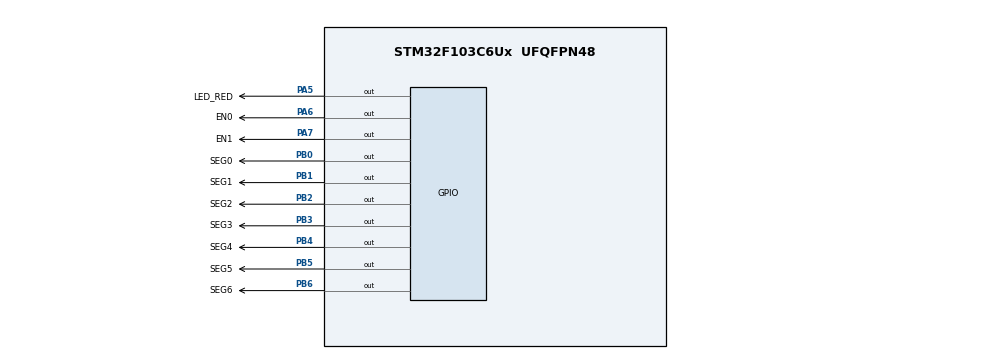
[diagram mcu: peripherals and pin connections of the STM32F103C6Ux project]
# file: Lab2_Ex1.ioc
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Mcu.Family=STM32F1
Mcu.Name=STM32F103C6Ux
Mcu.Package=UFQFPN48
NVIC.PriorityGroup=NVIC_PRIORITYGROUP_4
NVIC.TIM2_IRQn=true\:0\:0\:false\:false\:true\:true\:true
PA5.GPIO_Label=LED_RED
PA5.Signal=GPIO_Output
PA6.GPIO_Label=EN0
PA6.Signal=GPIO_Output
PA7.GPIO_Label=EN1
PA7.Signal=GPIO_Output
PB0.GPIO_Label=SEG0
PB0.Signal=GPIO_Output
PB1.GPIO_Label=SEG1
PB1.Signal=GPIO_Output
PB2.GPIO_Label=SEG2
PB2.Signal=GPIO_Output
PB3.GPIO_Label=SEG3
PB3.Signal=GPIO_Output
PB4.GPIO_Label=SEG4
PB4.Signal=GPIO_Output
PB5.GPIO_Label=SEG5
PB5.Signal=GPIO_Output
PB6.GPIO_Label=SEG6
PB6.Signal=GPIO_Output
ProjectManager.HeapSize=0x200
ProjectManager.StackSize=0x400
ProjectManager.TargetToolchain=STM32CubeIDE
RCC.APB1Freq_Value=8000000
RCC.APB2Freq_Value=8000000
TIM2.Period=9
TIM2.Prescaler=7999
VP_SYS_VS_ND.Mode=No_Debug
VP_TIM2_VS_ClockSourceINT.Mode=Internal
board=custom

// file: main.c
/* USER CODE BEGIN Header */
/**
  ******************************************************************************
  * @file           : main.c
  * @brief          : Main program body
  ******************************************************************************
  * @attention
  *
  * <h2><center>&copy; Copyright (c) 2022 STMicroelectronics.
  * All rights reserved.</center></h2>
  *
  * This software component is licensed by ST under BSD 3-Clause license,
  * the "License"; You may not use this file except in compliance with the
  * License. You may obtain a copy of the License at:
  *                        opensource.org/licenses/BSD-3-Clause
  *
  ******************************************************************************
  */
/* USER CODE END Header */
#include "main.h"
#include "software_timer.h"

TIM_HandleTypeDef htim2;

void SystemClock_Config(void);
static void MX_GPIO_Init(void);
static void MX_TIM2_Init(void);

int main(void)
{

  /* MCU Configuration--------------------------------------------------------*/

  /* Reset of all peripherals, Initializes the Flash interface and the Systick. */
  HAL_Init();

  /* Configure the system clock */
  SystemClock_Config();

  /* Initialize all configured peripherals */
  MX_GPIO_Init();
  MX_TIM2_Init();
  /* USER CODE BEGIN 2 */
  HAL_TIM_Base_Start_IT (& htim2 ) ;
  /* USER CODE END 2 */

  /* Infinite loop */
  while (1)
  {

  }
}

void SystemClock_Config(void)
{
  RCC_OscInitTypeDef RCC_OscInitStruct = {0};
  RCC_ClkInitTypeDef RCC_ClkInitStruct = {0};

  /** Initializes the RCC Oscillators according to the specified parameters
  * in the RCC_OscInitTypeDef structure.
  */
  RCC_OscInitStruct.OscillatorType = RCC_OSCILLATORTYPE_HSI;
  RCC_OscInitStruct.HSIState = RCC_HSI_ON;
  RCC_OscInitStruct.HSICalibrationValue = RCC_HSICALIBRATION_DEFAULT;
  RCC_OscInitStruct.PLL.PLLState = RCC_PLL_NONE;
  if (HAL_RCC_OscConfig(&RCC_OscInitStruct) != HAL_OK)
  {
    Error_Handler();
  }
  /** Initializes the CPU, AHB and APB buses clocks
  */
  RCC_ClkInitStruct.ClockType = RCC_CLOCKTYPE_HCLK|RCC_CLOCKTYPE_SYSCLK
                              |RCC_CLOCKTYPE_PCLK1|RCC_CLOCKTYPE_PCLK2;
  RCC_ClkInitStruct.SYSCLKSource = RCC_SYSCLKSOURCE_HSI;
  RCC_ClkInitStruct.AHBCLKDivider = RCC_SYSCLK_DIV1;
  RCC_ClkInitStruct.APB1CLKDivider = RCC_HCLK_DIV1;
  RCC_ClkInitStruct.APB2CLKDivider = RCC_HCLK_DIV1;

  if (HAL_RCC_ClockConfig(&RCC_ClkInitStruct, FLASH_LATENCY_0) != HAL_OK)
  {
    Error_Handler();
  }
}

static void MX_TIM2_Init(void)
{

  TIM_ClockConfigTypeDef sClockSourceConfig = {0};
  TIM_MasterConfigTypeDef sMasterConfig = {0};

  htim2.Instance = TIM2;
  htim2.Init.Prescaler = 7999;
  htim2.Init.CounterMode = TIM_COUNTERMODE_UP;
  htim2.Init.Period = 9;
  htim2.Init.ClockDivision = TIM_CLOCKDIVISION_DIV1;
  htim2.Init.AutoReloadPreload = TIM_AUTORELOAD_PRELOAD_DISABLE;
  if (HAL_TIM_Base_Init(&htim2) != HAL_OK)
  {
    Error_Handler();
  }
  sClockSourceConfig.ClockSource = TIM_CLOCKSOURCE_INTERNAL;
  if (HAL_TIM_ConfigClockSource(&htim2, &sClockSourceConfig) != HAL_OK)
  {
    Error_Handler();
  }
  sMasterConfig.MasterOutputTrigger = TIM_TRGO_RESET;
  sMasterConfig.MasterSlaveMode = TIM_MASTERSLAVEMODE_DISABLE;
  if (HAL_TIMEx_MasterConfigSynchronization(&htim2, &sMasterConfig) != HAL_OK)
  {
    Error_Handler();
  }

}

static void MX_GPIO_Init(void)
{
  GPIO_InitTypeDef GPIO_InitStruct = {0};

  /* GPIO Ports Clock Enable */
  __HAL_RCC_GPIOA_CLK_ENABLE();
  __HAL_RCC_GPIOB_CLK_ENABLE();

  /*Configure GPIO pin Output Level */
  HAL_GPIO_WritePin(GPIOA, LED_RED_Pin|EN0_Pin|EN1_Pin, GPIO_PIN_RESET);

  /*Configure GPIO pin Output Level */
  HAL_GPIO_WritePin(GPIOB, SEG0_Pin|SEG1_Pin|SEG2_Pin|SEG3_Pin
                          |SEG4_Pin|SEG5_Pin|SEG6_Pin, GPIO_PIN_RESET);

  /*Configure GPIO pins : LED_RED_Pin EN0_Pin EN1_Pin */
  GPIO_InitStruct.Pin = LED_RED_Pin|EN0_Pin|EN1_Pin;
  GPIO_InitStruct.Mode = GPIO_MODE_OUTPUT_PP;
  GPIO_InitStruct.Pull = GPIO_NOPULL;
  GPIO_InitStruct.Speed = GPIO_SPEED_FREQ_LOW;
  HAL_GPIO_Init(GPIOA, &GPIO_InitStruct);

  /*Configure GPIO pins : SEG0_Pin SEG1_Pin SEG2_Pin SEG3_Pin
                           SEG4_Pin SEG5_Pin SEG6_Pin */
  GPIO_InitStruct.Pin = SEG0_Pin|SEG1_Pin|SEG2_Pin|SEG3_Pin
                          |SEG4_Pin|SEG5_Pin|SEG6_Pin;
  GPIO_InitStruct.Mode = GPIO_MODE_OUTPUT_PP;
  GPIO_InitStruct.Pull = GPIO_NOPULL;
  GPIO_InitStruct.Speed = GPIO_SPEED_FREQ_LOW;
  HAL_GPIO_Init(GPIOB, &GPIO_InitStruct);

}

/* USER CODE BEGIN 4 */
void display7SEG(int num){
	GPIOB->ODR = ~(0x0000);
	if(num == 0){
		GPIOB->ODR = ~(0x003F);
	}
	if(num == 1){
			GPIOB->ODR = ~(0x0006);
		}
	if(num == 2){
			GPIOB->ODR = ~(0x005B);
		}
	if(num == 3){
			GPIOB->ODR = ~(0x004F);
		}
	if(num == 4){
			GPIOB->ODR = ~(0x0066);
		}
	if(num == 5){
			GPIOB->ODR = ~(0x006D);
		}
	if(num == 6){
			GPIOB->ODR = ~(0x007D);
		}
	if(num == 7){
			GPIOB->ODR = ~(0x0007);
		}
	if(num == 8){
			GPIOB->ODR = ~(0x007F);
		}
	if(num == 9){
			GPIOB->ODR = ~(0x006F);
		}
}

int counter = 50;
int status_1 = 0;

void HAL_TIM_PeriodElapsedCallback ( TIM_HandleTypeDef * htim )
{
	counter--;
	if(status_1 == 0){
		HAL_GPIO_WritePin(EN0_GPIO_Port, EN0_Pin, RESET);
		HAL_GPIO_WritePin(EN1_GPIO_Port, EN1_Pin, SET);
		HAL_GPIO_WritePin(LED_RED_GPIO_Port, LED_RED_Pin, RESET);
		display7SEG(1);
		if(counter <= 0){
			counter = 50;
			status_1 = 1;
		}
	}
	else if(status_1 == 1){
		HAL_GPIO_WritePin(EN0_GPIO_Port, EN0_Pin, SET);
		HAL_GPIO_WritePin(EN1_GPIO_Port, EN1_Pin, RESET);
		HAL_GPIO_WritePin(LED_RED_GPIO_Port, LED_RED_Pin, SET);
		display7SEG(2);
		if(counter <= 0){
			counter = 50;
			status_1 = 0;
		}
	}

	timerRun();
}
/* USER CODE END 4 */

void Error_Handler(void)
{
  __disable_irq();
  while (1)
  {
  }
}

/************************ (C) COPYRIGHT STMicroelectronics *****END OF FILE****/
